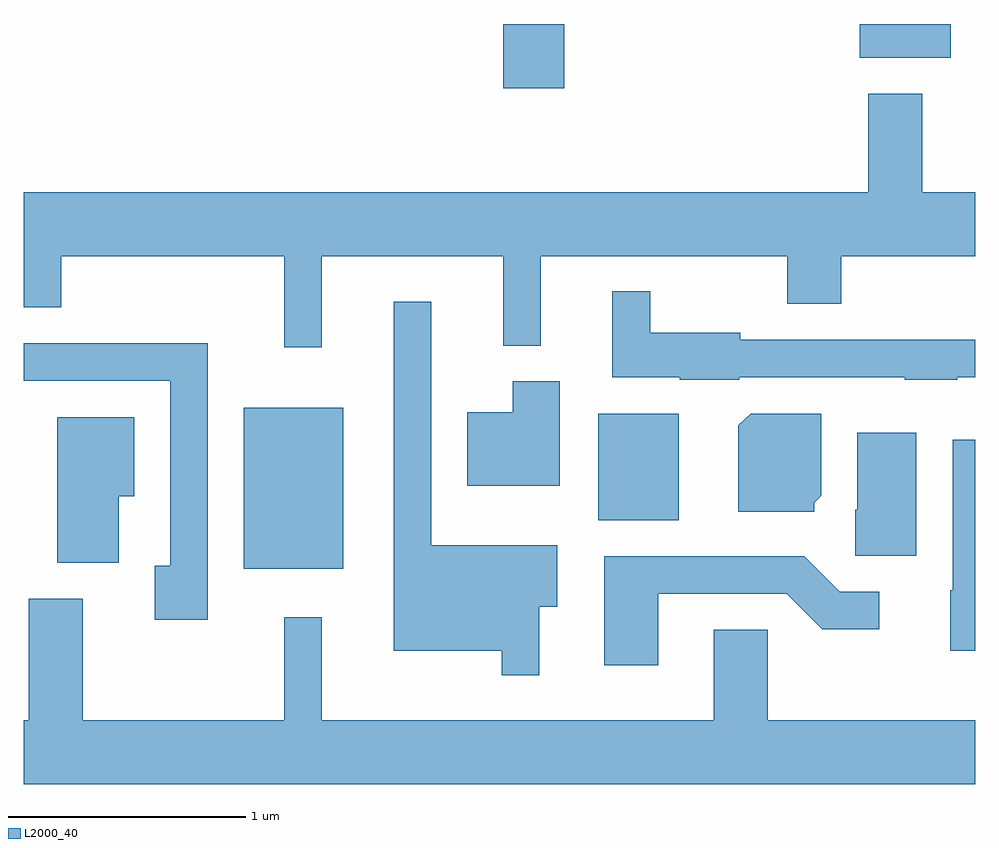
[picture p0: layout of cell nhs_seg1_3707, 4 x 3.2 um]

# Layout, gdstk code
import gdstk
lib = gdstk.Library(unit=1e-6, precision=1e-09)
def R(c, l, rs):  # rectangles x0, y0, x1, y1
    for r in rs: c.add(gdstk.rectangle(r[:2], r[2:], *l))
def P(c, l, *ps):  # polygons
    for p in ps: c.add(gdstk.Polygon(p, *l))
L2000_40 = (2000, 40)

nhs_seg1_3707 = lib.new_cell('nhs_seg1_3707')
R(nhs_seg1_3707, L2000_40, [(298.536,849.421,298.954,850.099), (300.026,849.626,300.364,850.074), (299.626,851.441,299.884,851.712), (301.126,851.571,301.509,851.712)])
P(nhs_seg1_3707, L2000_40, [(298.864,850.736),(299.626,850.736),(299.626,850.358),(299.784,850.358),(299.784,850.736),(300.821,850.736),(300.821,850.536),(301.049,850.536),(301.049,850.736),(301.611,850.736),(301.611,851.004),(301.389,851.004),(301.389,851.419),(301.161,851.419),(301.161,851.004),(297.611,851.004),(297.611,850.521),(297.769,850.521),(297.769,850.736),(298.706,850.736),(298.706,850.353),(298.864,850.353)],
  [(300.62,850.226),(301.315,850.226),(301.315,850.216),(301.535,850.216),(301.535,850.226),(301.611,850.226),(301.611,850.384),(300.624,850.384),(300.624,850.414),(300.244,850.414),(300.244,850.588),(300.086,850.588),(300.086,850.226),(300.37,850.226),(300.37,850.216),(300.62,850.216)],
  [(299.779,849.261),(299.854,849.261),(299.854,849.519),(299.324,849.519),(299.324,850.543),(299.166,850.543),(299.166,849.076),(299.621,849.076),(299.621,848.973),(299.779,848.973)],
  [(298.384,850.369),(297.611,850.369),(297.611,850.211),(298.226,850.211),(298.226,849.434),(298.161,849.434),(298.161,849.206),(298.384,849.206)],
  [(299.864,850.209),(299.666,850.209),(299.666,850.079),(299.476,850.079),(299.476,849.771),(299.864,849.771)],
  [(300.934,849.699),(300.964,849.729),(300.964,850.074),(300.667,850.074),(300.616,850.024),(300.616,849.661),(300.934,849.661)],
  [(298.009,849.726),(298.074,849.726),(298.074,850.059),(297.751,850.059),(297.751,849.446),(298.009,849.446)],
  [(301.364,849.994),(301.116,849.994),(301.116,849.67),(301.106,849.67),(301.106,849.476),(301.364,849.476)],
  [(301.611,849.964),(301.516,849.964),(301.516,849.33),(301.506,849.33),(301.506,849.076),(301.611,849.076)],
  [(300.279,849.316),(300.819,849.316),(300.969,849.166),(301.208,849.166),(301.208,849.324),(301.042,849.324),(300.892,849.474),(300.051,849.474),(300.051,849.016),(300.279,849.016)],
  [(301.611,848.784),(300.739,848.784),(300.739,849.164),(300.511,849.164),(300.511,848.784),(298.864,848.784),(298.864,849.218),(298.706,849.218),(298.706,848.784),(297.859,848.784),(297.859,849.294),(297.631,849.294),(297.631,848.784),(297.611,848.784),(297.611,848.516),(301.611,848.516)])

lib.write_gds('nhs_seg1_3707.gds')
